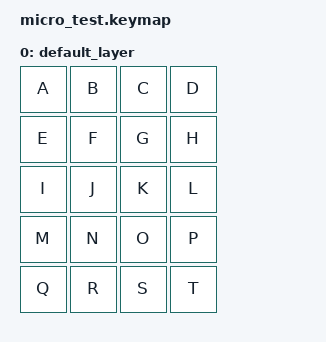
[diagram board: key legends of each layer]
#include <behaviors.dtsi>
#include <dt-bindings/zmk/keys.h>

/ {
    keymap {
        compatible = "zmk,keymap";

        default_layer {
// -------------------------------------------------------------
// |    A    |    B    |    C    |    D    |    E    |    F    |
// |    G    |    H    |    I    |    J    |    K    |    L    |
// |    M    |    N    |    O    |    P    |    Q    |    R    |
// |    S    |    T    |    U    |    V    |    W    |    X    |
            bindings = <
    &kp A    &kp B    &kp C    &kp D
    &kp E    &kp F    &kp G    &kp H
    &kp I    &kp J    &kp K    &kp L
    &kp M    &kp N    &kp O    &kp P
    &kp Q    &kp R    &kp S    &kp T
            >;
        };
    };
};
